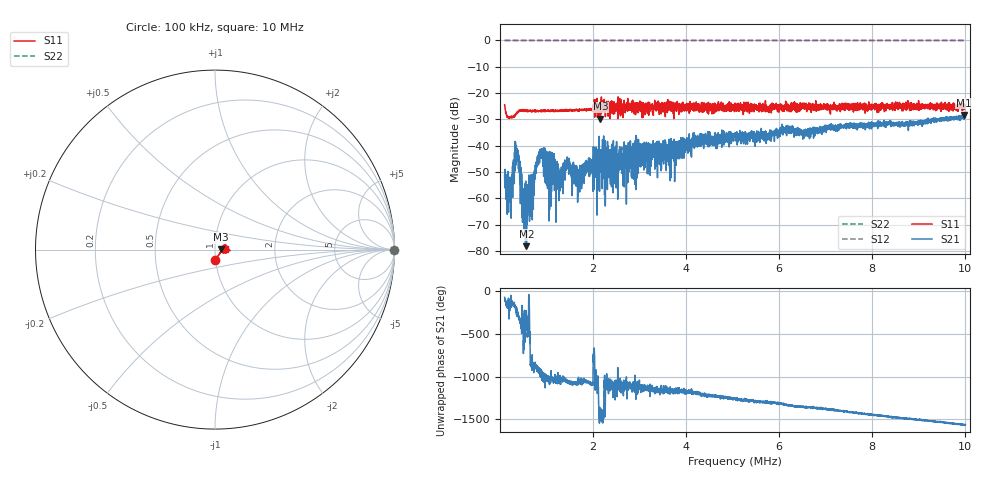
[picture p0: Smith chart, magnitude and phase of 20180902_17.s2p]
! Anritsu VNA Master:  Model: MS2026C/19
! SN:  1815009
! /card0/usr/20180902_17.s2p
! Existing Calibration Information:
! TYPE:  Current Settings,  Active Cal Settings
! TIME:  09/02/2018 12:51:56 PM,  09/02/2018 11:58:48 AM
! INTERNAL TEMP:  53.8 C,  48.8 C
! # POINTS:  4001,  4001
! START FREQ:  100.000 kHz,  100.000 kHz
! STOP FREQ:  10.000 MHz,  10.000 MHz
! SOURCE POWER:  Low,  Low
! IFBW:  500 Hz,  500 Hz
! AVG FACTOR:  1 ,  1
! REF PLANE 1:  0 mm,  0 mm
! REF PLANE 2:  0 mm,  0 mm
! CAL TYPE:  1P2P S11,S21,  1P2P S11,S21
! CAL METHOD:  SOLT,  SOLT
! CAL LINE TYPE:  Coax,  Coax
! DUT PORT 1:  N-Conn(M),  N-Conn(M)
! DUT PORT 2:  N-Conn(M),  N-Conn(M)
! CAL STATUS:  ?T: Accuracy moderate (|Temp diff| > 5.0 C),  --
# GHZ S RI R 50.0
! FREQ.GHZ  S11RE  S11IM  S21RE  S21IM  S12RE  S12IM  S22RE  S22IM
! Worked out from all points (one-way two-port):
!   4001 points, 100 kHz to 10 MHz, reference 50 ohm
!   highest |S21| = -28.36 dB at 9.96 MHz (marker M1); lowest = -78.2 dB at 570.2 kHz (marker M2)
!   lowest |S11| = -29.8 dB at 2.159 MHz (marker M3), VSWR 1.07, Z = 53.3 + j0.167 ohm
!   |S11| at or under -10 dB: start of sweep to end of sweep
!   |S22| runs from 0.0 to 0.0 dB; largest |S21 - S12| = 1
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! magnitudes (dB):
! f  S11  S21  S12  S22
! 100 kHz  -24.4  -51.3  0.0  0.0
! 206.4 kHz  -29.3  -54.4  0.0  0.0
! 372.2 kHz  -27.3  -42.3  0.0  0.0
! 500.9 kHz  -26.5  -56.4  0.0  0.0
! 570.2 kHz  -26.5  -78.2  0.0  0.0
! 679.1 kHz  -26.8  -54.9  0.0  0.0
! 780.6 kHz  -26.7  -48.3  0.0  0.0
! 874.7 kHz  -26.9  -43.8  0.0  0.0
! 1.149 MHz  -26.9  -54.7  0.0  0.0
! 1.251 MHz  -26.5  -52.1  0.0  0.0
! 1.449 MHz  -26.5  -47.2  0.0  0.0
! 1.682 MHz  -26.9  -50.3  0.0  0.0
! 1.751 MHz  -26.4  -48.5  0.0  0.0
! 1.889 MHz  -26.2  -48.5  0.0  0.0
! 2.07 MHz  -25.2  -50.7  0.0  0.0
! 2.159 MHz  -29.8  -47.7  0.0  0.0
! 3.402 MHz  -25.3  -40.5  0.0  0.0
! 5.05 MHz  -23.8  -35.7  0.0  0.0
! 6.701 MHz  -26.2  -34.6  0.0  0.0
! 8.352 MHz  -25.5  -31.4  0.0  0.0
! 9.96 MHz  -25.0  -28.4  0.0  0.0
! 10 MHz  -25.4  -29.2  0.0  0.0
